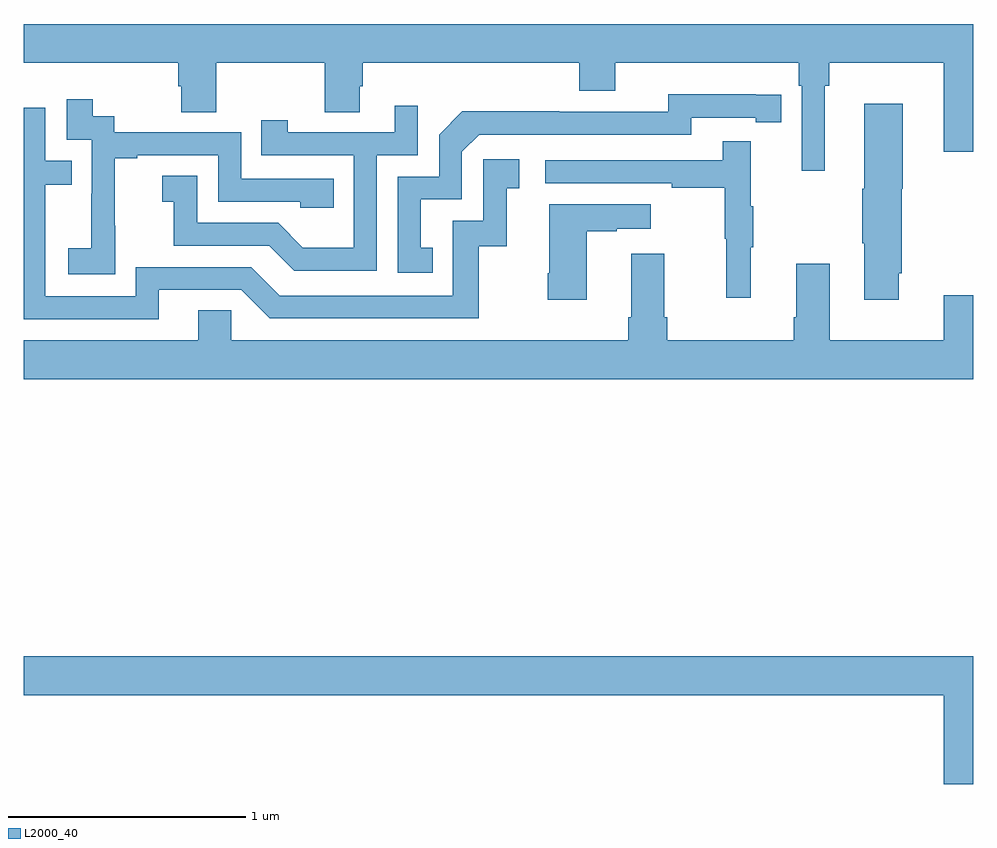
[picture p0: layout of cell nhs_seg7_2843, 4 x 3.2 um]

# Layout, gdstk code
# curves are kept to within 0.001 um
import gdstk
lib = gdstk.Library(unit=1e-6, precision=1e-09)
def P(c, l, *ps):  # polygons
    for p in ps: c.add(gdstk.Polygon(p, *l))
L2000_40 = (2000, 40)

nhs_seg7_2843 = lib.new_cell('nhs_seg7_2843')
P(nhs_seg7_2843, L2000_40, [(296.374,1071.116),(296.393,1071.116),(296.393,1071.212),(296.876,1071.212),(296.876,1070.838),(297,1070.838),(297,1071.376),(293,1071.376),(293,1071.212),(293.651,1071.212),(293.651,1071.114),(293.663,1071.114),(293.663,1071.004),(293.811,1071.004),(293.811,1071.212),(294.268,1071.212),(294.268,1071.004),(294.415,1071.004),(294.415,1071.114),(294.428,1071.114),(294.428,1071.212),(295.34,1071.212),(295.34,1071.095),(295.492,1071.095),(295.492,1071.212),(296.264,1071.212),(296.264,1071.116),(296.277,1071.116),(296.277,1070.757),(296.374,1070.757)],
  [(294.722,1070.433),(294.673,1070.433),(294.673,1070.637),(294.846,1070.637),(294.846,1070.838),(294.918,1070.91),(295.812,1070.91),(295.812,1070.982),(296.084,1070.982),(296.084,1070.962),(296.192,1070.962),(296.192,1071.078),(295.716,1071.079),(295.716,1071.006),(295.256,1071.006),(295.256,1071.008),(294.848,1071.008),(294.75,1070.91),(294.75,1070.733),(294.576,1070.733),(294.576,1070.328),(294.722,1070.328)],
  [(293.385,1070.527),(293.384,1070.527),(293.384,1070.811),(293.479,1070.811),(293.479,1070.823),(293.82,1070.823),(293.82,1070.628),(294.165,1070.628),(294.165,1070.601),(294.305,1070.601),(294.305,1070.724),(293.916,1070.724),(293.916,1070.919),(293.382,1070.919),(293.382,1070.988),(293.29,1070.988),(293.29,1071.058),(293.181,1071.058),(293.181,1070.889),(293.286,1070.889),(293.286,1070.66),(293.285,1070.66),(293.285,1070.431),(293.187,1070.431),(293.187,1070.321),(293.385,1070.321)],
  [(296.686,1070.326),(296.699,1070.326),(296.699,1070.682),(296.704,1070.682),(296.704,1071.04),(296.54,1071.04),(296.54,1070.682),(296.533,1070.682),(296.533,1070.452),(296.54,1070.452),(296.54,1070.214),(296.686,1070.214)],
  [(294.486,1070.823),(294.66,1070.823),(294.66,1071.031),(294.563,1071.031),(294.563,1070.919),(294.112,1070.919),(294.112,1070.971),(294.001,1070.971),(294.001,1070.823),(294.39,1070.823),(294.39,1070.434),(294.176,1070.434),(294.072,1070.538),(293.73,1070.538),(293.73,1070.737),(293.583,1070.737),(293.583,1070.627),(293.632,1070.627),(293.632,1070.442),(294.035,1070.442),(294.14,1070.337),(294.486,1070.337)],
  [(293.569,1070.256),(293.916,1070.256),(294.036,1070.136),(294.916,1070.136),(294.916,1070.439),(295.034,1070.439),(295.034,1070.685),(295.087,1070.685),(295.087,1070.806),(294.936,1070.806),(294.936,1070.547),(294.807,1070.547),(294.807,1070.232),(294.078,1070.232),(293.958,1070.352),(293.472,1070.352),(293.472,1070.229),(293.091,1070.229),(293.091,1070.698),(293.201,1070.698),(293.201,1070.799),(293.091,1070.799),(293.091,1071.024),(293,1071.024),(293,1070.133),(293.569,1070.133)],
  [(296.063,1070.435),(296.074,1070.435),(296.074,1070.609),(296.063,1070.609),(296.063,1070.881),(295.945,1070.881),(295.945,1070.802),(295.197,1070.802),(295.197,1070.706),(295.729,1070.706),(295.729,1070.686),(295.953,1070.686),(295.953,1070.472),(295.96,1070.472),(295.96,1070.223),(296.063,1070.223)],
  [(295.372,1070.503),(295.499,1070.503),(295.499,1070.513),(295.642,1070.513),(295.642,1070.617),(295.214,1070.617),(295.214,1070.326),(295.207,1070.326),(295.207,1070.214),(295.372,1070.214)],
  [(297,1070.233),(296.876,1070.233),(296.876,1070.044),(296.395,1070.044),(296.395,1070.365),(296.255,1070.365),(296.255,1070.14),(296.243,1070.14),(296.243,1070.044),(295.712,1070.044),(295.712,1070.14),(295.699,1070.14),(295.699,1070.407),(295.559,1070.407),(295.559,1070.14),(295.547,1070.14),(295.547,1070.044),(293.874,1070.044),(293.874,1070.171),(293.735,1070.171),(293.735,1070.044),(293,1070.044),(293,1069.88),(297,1069.88)],
  [(297,1068.712),(293,1068.712),(293,1068.548),(296.876,1068.548),(296.876,1068.174),(297,1068.174)])

lib.write_gds('nhs_seg7_2843.gds')
